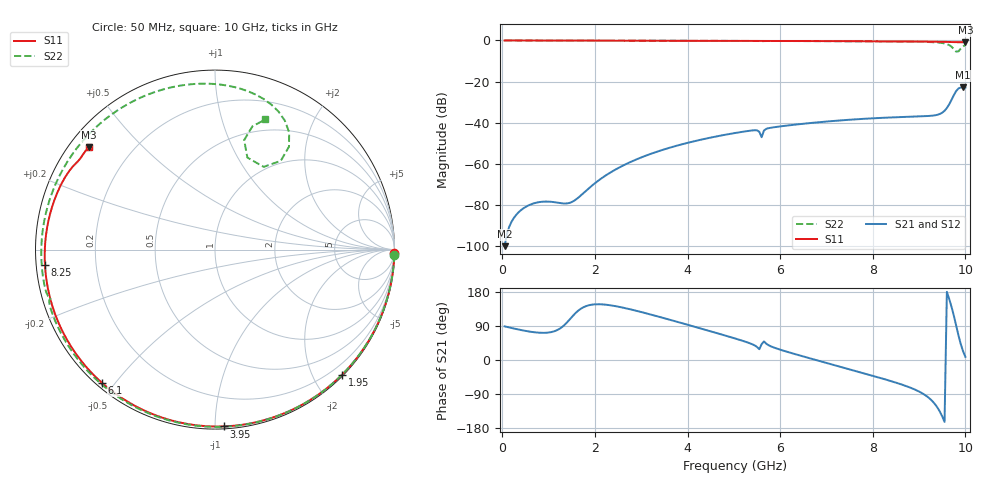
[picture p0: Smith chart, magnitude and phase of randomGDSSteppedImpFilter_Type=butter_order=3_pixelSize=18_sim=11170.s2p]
! freq	dB(S11)	phase(S11)	dB(S12)	phase(S12)
!  dB(S21)	phase(S21)	dB(S22)	phase(S22)
!S-par simulation data
#  GHz  S  DB  R 50
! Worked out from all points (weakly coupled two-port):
!   200 points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, 50 MHz to 10 GHz, reference 50 ohm
!   highest |S21| = -22.84 dB at 9.95 GHz (marker M1); lowest = -100.0 dB at 50 MHz (marker M2)
!   lowest |S11| = -0.9 dB at 10 GHz (marker M3), VSWR 20.18, Z = 2.79 + j17.7 ohm
!   |S11| at or under -10 dB: nowhere
!   |S22| runs from -5.4 to 0.0 dB; largest |S21 - S12| = 0
!   S11 on the Smith chart (normalised r, x): 50 MHz: 0, -98; 1.95 GHz: 0.02, -2.45; 3.95 GHz: 0.01, -1.05; 6.1 GHz: 0.02, -0.46; 8.25 GHz: 0.02, -0.05; 10 GHz: 0.06, +0.35
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0.05  -0.00 -1.2  -100.02 88.7  -100.02 88.7  -0.00 -1.8
1.4  -0.04 -32.2  -79.22 99.5  -79.22 99.5  -0.06 -47.4
1.75  -0.05 -40.0  -74.26 139.1  -74.26 139.1  -0.07 -58.7
1.95  -0.06 -44.5  -70.33 146.3  -70.33 146.3  -0.08 -64.9
2.6  -0.08 -58.7  -60.90 138.3  -60.90 138.3  -0.10 -84.6
3.4  -0.10 -75.7  -53.64 113.6  -53.64 113.6  -0.13 -107.2
3.95  -0.12 -87.1  -50.07 94.8  -50.07 94.8  -0.15 -121.9
5.05  -0.17 -109.4  -44.90 56.0  -44.90 56.0  -0.21 -150.0
5.5  -0.19 -118.3  -43.70 34.4  -43.70 34.4  -0.25 -161.5
5.6  -0.20 -120.3  -47.03 41.7  -47.03 41.7  -0.41 -163.6
5.7  -0.21 -122.3  -42.96 42.9  -42.96 42.9  -0.27 -165.8
6.1  -0.23 -130.2  -41.51 23.5  -41.51 23.5  -0.27 -176.1
6.7  -0.28 -142.2  -40.04 2.5  -40.04 2.5  -0.32 168.4
7.5  -0.35 -158.6  -38.54 -24.6  -38.54 -24.6  -0.39 146.4
8.25  -0.43 -174.7  -37.57 -50.5  -37.57 -50.5  -0.48 123.2
8.35  -0.45 -177.0  -37.47 -54.1  -37.47 -54.1  -0.50 119.8
9  -0.54 167.8  -36.93 -83.3  -36.93 -83.3  -0.65 95.0
9.45  -0.63 156.3  -35.72 -136.6  -35.72 -136.6  -1.09 72.1
9.65  -0.72 150.8  -31.06 161.2  -31.06 161.2  -2.24 57.7
9.8  -0.84 146.8  -24.62 91.5  -24.62 91.5  -5.44 59.6
9.95  -0.85 142.7  -22.84 23.1  -22.84 23.1  -2.87 73.1
10  -0.86 141.0  -22.91 8.4  -22.91 8.4  -2.19 68.9
